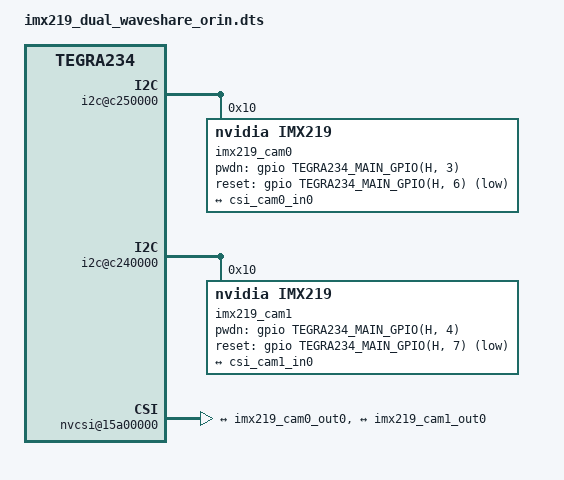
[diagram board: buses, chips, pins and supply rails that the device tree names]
/dts-v1/;
/plugin/;

/ {
    compatible = "nvidia,tegra234";

    fragment@0 {
        target-path = "/i2c@c250000";
        __overlay__ {
            /* Right camera on CAM0: IMX219 @ 0x10 */
            imx219_cam0: imx219_a@10 {
                compatible = "nvidia,imx219";
                reg = <0x10>;
                status = "okay";

                clocks = <&bpmp_clks TEGRA234_CLK_EXTPERIPH1>;
                clock-names = "extperiph1";
                mclk = "extperiph1";

                /* Adjust these GPIOs if Waveshare uses different PWDN/RESET lines */
                pwdn-gpios = <&gpio TEGRA234_MAIN_GPIO(H, 3) GPIO_ACTIVE_HIGH>;
                reset-gpios = <&gpio TEGRA234_MAIN_GPIO(H, 6) GPIO_ACTIVE_LOW>;

                /* Basic mode table: 1920x1080@30, 2-lane */
                mode0 {
                    mclk_khz = "24000";
                    num_lanes = "2";
                    tegra_sinterface = "serial_a";
                    discontinuous_clk = "yes";
                    dpcm_enable = "false";
                    cil_settletime = "0";

                    active_w = "1920";
                    active_h = "1080";
                    pixel_t = "bayer_rggb10";
                    readout_orientation = "0";
                    line_length = "3448";
                    inherent_gain = "1";
                    mclk_multiplier = "32";
                    pix_clk_hz = "800000000";

                    min_gain_val = "1.0";
                    max_gain_val = "16.0";
                    min_hdr_ratio = "1";
                    max_hdr_ratio = "1";
                    min_framerate = "2000000";
                    max_framerate = "30000000";
                    min_exp_time = "34";
                    max_exp_time = "683709000";
                };

                ports {
                    #address-cells = <1>;
                    #size-cells = <0>;

                    port@0 {
                        reg = <0>;
                        imx219_cam0_out0: endpoint {
                            port-index = <0>;
                            bus-width = <2>;
                            remote-endpoint = <&csi_cam0_in0>;
                        };
                    };
                };
            };

            /* Left camera on CAM1: IMX219 @ 0x10 on a different I2C bus (example) */
        };
    };

    fragment@1 {
        target-path = "/i2c@c240000";
        __overlay__ {
            imx219_cam1: imx219_b@10 {
                compatible = "nvidia,imx219";
                reg = <0x10>;
                status = "okay";

                clocks = <&bpmp_clks TEGRA234_CLK_EXTPERIPH2>;
                clock-names = "extperiph2";
                mclk = "extperiph2";

                pwdn-gpios = <&gpio TEGRA234_MAIN_GPIO(H, 4) GPIO_ACTIVE_HIGH>;
                reset-gpios = <&gpio TEGRA234_MAIN_GPIO(H, 7) GPIO_ACTIVE_LOW>;

                mode0 {
                    mclk_khz = "24000";
                    num_lanes = "2";
                    tegra_sinterface = "serial_c";
                    discontinuous_clk = "yes";
                    dpcm_enable = "false";
                    cil_settletime = "0";

                    active_w = "1920";
                    active_h = "1080";
                    pixel_t = "bayer_rggb10";
                    readout_orientation = "0";
                    line_length = "3448";
                    inherent_gain = "1";
                    mclk_multiplier = "32";
                    pix_clk_hz = "800000000";

                    min_gain_val = "1.0";
                    max_gain_val = "16.0";
                    min_hdr_ratio = "1";
                    max_hdr_ratio = "1";
                    min_framerate = "2000000";
                    max_framerate = "30000000";
                    min_exp_time = "34";
                    max_exp_time = "683709000";
                };

                ports {
                    #address-cells = <1>;
                    #size-cells = <0>;

                    port@0 {
                        reg = <0>;
                        imx219_cam1_out0: endpoint {
                            port-index = <2>;
                            bus-width = <2>;
                            remote-endpoint = <&csi_cam1_in0>;
                        };
                    };
                };
            };
        };
    };

    fragment@2 {
        target-path = "/tegra-capture-vi";
        __overlay__ {
            ports {
                #address-cells = <1>;
                #size-cells = <0>;

                port@0 {
                    reg = <0>;
                    csi_vi_in0: endpoint {
                        port-index = <0>;
                        bus-width = <2>;
                        remote-endpoint = <&csi_cam0_in0>;
                    };
                };

                port@2 {
                    reg = <2>;
                    csi_vi_in2: endpoint {
                        port-index = <2>;
                        bus-width = <2>;
                        remote-endpoint = <&csi_cam1_in0>;
                    };
                };
            };
        };
    };

    fragment@3 {
        target-path = "/host1x/nvcsi@15a00000";
        __overlay__ {
            ports {
                #address-cells = <1>;
                #size-cells = <0>;

                port@0 {
                    reg = <0>;
                    csi_cam0_in0: endpoint {
                        port-index = <0>;
                        bus-width = <2>;
                        remote-endpoint = <&imx219_cam0_out0>;
                    };
                };

                port@2 {
                    reg = <2>;
                    csi_cam1_in0: endpoint {
                        port-index = <2>;
                        bus-width = <2>;
                        remote-endpoint = <&imx219_cam1_out0>;
                    };
                };
            };
        };
    };
};

